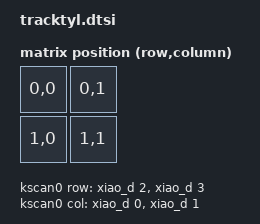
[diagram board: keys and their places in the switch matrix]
#include <dt-bindings/zmk/matrix_transform.h>

/ {
    chosen {
        zmk,kscan = &kscan0;
        zmk,matrix_transform = &default_transform;
    };

    default_transform: keymap_transform_0 {
        compatible = "zmk,matrix-transform";
        columns = <2>;
        rows = <2>;
        // | SW2  | SW3  | SW4  | SW5  | SW6  |   | SW6  | SW5  | SW4  | SW3  | SW2  |
        // | SW8  | SW9  | SW10 | SW11 | SW12 |   | SW12 | SW11 | SW10 | SW9  | SW8  |
        // | SW14 | SW15 | SW16 | SW17 | SW18 |   | SW18 | SW17 | SW16 | SW15 | SW14 |
        // | SW19 | SW20 | SW21 | SW22 | SW23 |   | SW23 | SW22 | SW21 | SW20 | SW19 |
        map = <
            RC(0,0) RC(0,1) 
            RC(1,0) RC(1,1) 
        >;
    };

    kscan0: kscan {
        compatible = "zmk,kscan-gpio-matrix";
        label = "KSCAN";

        diode-direction = "col2row";

        col-gpios
            = <&xiao_d 0 GPIO_ACTIVE_HIGH>
            , <&xiao_d 1 GPIO_ACTIVE_HIGH>
            ;

        row-gpios
            = <&xiao_d 2 (GPIO_ACTIVE_HIGH | GPIO_PULL_DOWN)>
            , <&xiao_d 3 (GPIO_ACTIVE_HIGH | GPIO_PULL_DOWN)>
            ;

    };
};
